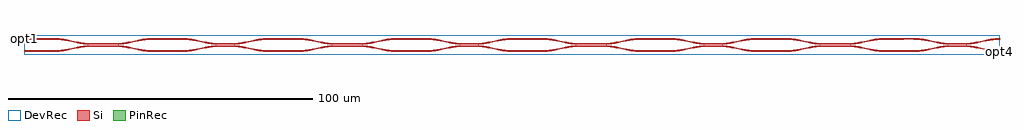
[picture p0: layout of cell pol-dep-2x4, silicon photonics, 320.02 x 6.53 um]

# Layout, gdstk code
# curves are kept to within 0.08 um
import gdstk
lib = gdstk.Library(unit=1e-6, precision=1e-09)
def R(c, l, rs):  # rectangles x0, y0, x1, y1
    for r in rs: c.add(gdstk.rectangle(r[:2], r[2:], *l))
def P(c, l, *ps):  # polygons
    for p in ps: c.add(gdstk.Polygon(p, *l))
Si = (1, 0)
PinRec = (1, 10)
DevRec = (68, 0)

layer_3_0_phase_sec_3_4_ = lib.new_cell('layer-3_0_phase_sec_3$4$1')
P(layer_3_0_phase_sec_3_4_, Si, [(1.61,-0.244),(0,-0.225),(0,0.225),(10,0.225),(10,-0.225)])

layer_3_0_phase_sec_2_4_ = lib.new_cell('layer-3_0_phase_sec_2$4$1')
P(layer_3_0_phase_sec_2_4_, Si, [(0,-0.225),(0,0.225),(10,0.225),(10,-0.225)])

layer_3_0_phase_sec_1_4_ = lib.new_cell('layer-3_0_phase_sec_1$4$1')
P(layer_3_0_phase_sec_1_4_, Si, [(0,-0.225),(0,0.225),(10,0.225),(10,-0.225)])

layer_3_0_phase_sec_0_4_ = lib.new_cell('layer-3_0_phase_sec_0$4$1')
P(layer_3_0_phase_sec_0_4_, Si, [(3.237,-0.254),(0,-0.225),(0,0.225),(10,0.225),(10,-0.225)])

layer_2_0_phase_sec_3_4_ = lib.new_cell('layer-2_0_phase_sec_3$4$1')
P(layer_2_0_phase_sec_3_4_, Si, [(3.236,-0.253),(0,-0.225),(0,0.225),(10,0.225),(10,-0.225)])

layer_2_0_phase_sec_2_4_ = lib.new_cell('layer-2_0_phase_sec_2$4$1')
P(layer_2_0_phase_sec_2_4_, Si, [(0,-0.225),(0,0.225),(10,0.225),(10,-0.225)])

layer_2_0_phase_sec_1_4_ = lib.new_cell('layer-2_0_phase_sec_1$4$1')
P(layer_2_0_phase_sec_1_4_, Si, [(0,-0.225),(0,0.225),(10,0.225),(10,-0.225)])

layer_2_0_phase_sec_0_4_ = lib.new_cell('layer-2_0_phase_sec_0$4$1')
P(layer_2_0_phase_sec_0_4_, Si, [(6.454,-0.242),(0,-0.225),(0,0.225),(10,0.225),(10,-0.225)])

layer_1_0_phase_sec_3_4_ = lib.new_cell('layer-1_0_phase_sec_3$4$1')
P(layer_1_0_phase_sec_3_4_, Si, [(4.867,-0.266),(0,-0.225),(0,0.225),(10,0.225),(10,-0.225)])

layer_1_0_phase_sec_2_4_ = lib.new_cell('layer-1_0_phase_sec_2$4$1')
P(layer_1_0_phase_sec_2_4_, Si, [(0,-0.225),(0,0.225),(10,0.225),(10,-0.225)])

layer_1_0_phase_sec_0_4_ = lib.new_cell('layer-1_0_phase_sec_0$4$1')
P(layer_1_0_phase_sec_0_4_, Si, [(4.828,-0.24),(0,-0.225),(0,0.225),(10,0.225),(10,-0.225)])

dc_arm_down_4_4_1 = lib.new_cell('dc_arm_down_4$4$1')
R(dc_arm_down_4_4_1, Si, [(12,-0.55,16,-0.1)])
P(dc_arm_down_4_4_1, Si, [(28,-2.225),(26.861,-2.188),(25.344,-2.033),(18.966,-0.793),(17.481,-0.613),(16,-0.55),(16,-0.1),(17.139,-0.137),(18.656,-0.292),(25.034,-1.532),(26.519,-1.712),(28,-1.775)],
  [(0,-2.225),(0,-1.775),(1.481,-1.712),(2.966,-1.532),(9.344,-0.292),(10.861,-0.137),(12,-0.1),(12,-0.55),(10.519,-0.613),(9.034,-0.793),(2.656,-2.033),(1.139,-2.188)])

dc_arm_up_4_4_1 = lib.new_cell('dc_arm_up_4$4$1')
R(dc_arm_up_4_4_1, Si, [(12,0.1,16,0.55)])
P(dc_arm_up_4_4_1, Si, [(16,0.1),(16,0.55),(17.481,0.613),(18.966,0.793),(25.344,2.033),(26.861,2.188),(28,2.225),(28,1.775),(26.519,1.712),(25.034,1.532),(18.656,0.292),(17.139,0.137)],
  [(12,0.1),(10.861,0.137),(9.344,0.292),(2.966,1.532),(1.481,1.712),(0,1.775),(0,2.225),(1.139,2.188),(2.656,2.033),(9.034,0.793),(10.519,0.613),(12,0.55)])

dc_4_4_1 = lib.new_cell('dc_4$4$1')
dc_4_4_1.add(gdstk.Reference(dc_arm_down_4_4_1, (0,0)))
dc_4_4_1.add(gdstk.Reference(dc_arm_up_4_4_1, (0,0)))

layer_1_0_phase_sec_1_4_ = lib.new_cell('layer-1_0_phase_sec_1$4$1')
P(layer_1_0_phase_sec_1_4_, Si, [(1.609,-0.227),(0,-0.225),(0,0.225),(10,0.225),(10,-0.225)])

dc_arm_down_8_4_1 = lib.new_cell('dc_arm_down_8$4$1')
R(dc_arm_down_8_4_1, Si, [(12,-0.55,20,-0.1)])
P(dc_arm_down_8_4_1, Si, [(32,-2.225),(30.861,-2.188),(29.344,-2.033),(22.966,-0.793),(21.481,-0.613),(20,-0.55),(20,-0.1),(21.139,-0.137),(22.656,-0.292),(29.034,-1.532),(30.519,-1.712),(32,-1.775)],
  [(0,-2.225),(0,-1.775),(1.481,-1.712),(2.966,-1.532),(9.344,-0.292),(10.861,-0.137),(12,-0.1),(12,-0.55),(10.519,-0.613),(9.034,-0.793),(2.656,-2.033),(1.139,-2.188)])

dc_arm_up_8_4_1 = lib.new_cell('dc_arm_up_8$4$1')
R(dc_arm_up_8_4_1, Si, [(12,0.1,20,0.55)])
P(dc_arm_up_8_4_1, Si, [(20,0.1),(20,0.55),(21.481,0.613),(22.966,0.793),(29.344,2.033),(30.861,2.188),(32,2.225),(32,1.775),(30.519,1.712),(29.034,1.532),(22.656,0.292),(21.139,0.137)],
  [(12,0.1),(10.861,0.137),(9.344,0.292),(2.966,1.532),(1.481,1.712),(0,1.775),(0,2.225),(1.139,2.188),(2.656,2.033),(9.034,0.793),(10.519,0.613),(12,0.55)])

dc_8_4_1 = lib.new_cell('dc_8$4$1')
dc_8_4_1.add(gdstk.Reference(dc_arm_down_8_4_1, (0,0)))
dc_8_4_1.add(gdstk.Reference(dc_arm_up_8_4_1, (0,0)))

layer_0_0_phase_sec_3_4_ = lib.new_cell('layer-0_0_phase_sec_3$4$1')
P(layer_0_0_phase_sec_3_4_, Si, [(0,-0.225),(0,0.225),(10,0.225),(10,-0.225)])

layer_0_0_phase_sec_1_4_ = lib.new_cell('layer-0_0_phase_sec_1$4$1')
P(layer_0_0_phase_sec_1_4_, Si, [(1.613,-0.231),(0,-0.225),(0,0.225),(10,0.225),(10,-0.225)])

layer_0_0_phase_sec_2_4_ = lib.new_cell('layer-0_0_phase_sec_2$4$1')
P(layer_0_0_phase_sec_2_4_, Si, [(4.862,-0.267),(0,-0.225),(0,0.225),(10,0.225),(10,-0.225)])

layer_0_0_phase_sec_0_4_ = lib.new_cell('layer-0_0_phase_sec_0$4$1')
P(layer_0_0_phase_sec_0_4_, Si, [(6.461,-0.23),(0,-0.225),(0,0.225),(10,0.225),(10,-0.225)])

pol_dep_2x4 = lib.new_cell('pol-dep-2x4')
R(pol_dep_2x4, DevRec, [(0,-1,320,5.533)])
pol_dep_2x4.add(gdstk.FlexPath([(319.99,0.266),(320.01,0.266)], 0.45, ends="flush", simple_path=True, layer=1, datatype=10))  # PinRec
pol_dep_2x4.add(gdstk.FlexPath([(319.99,4.266),(320.01,4.266)], 0.45, ends="flush", simple_path=True, layer=1, datatype=10))  # PinRec
pol_dep_2x4.add(gdstk.FlexPath([(0.01,0.266),(-0.01,0.266)], 0.45, ends="flush", simple_path=True, layer=1, datatype=10))  # PinRec
pol_dep_2x4.add(gdstk.FlexPath([(0.01,4.266),(-0.01,4.266)], 0.45, ends="flush", simple_path=True, layer=1, datatype=10))  # PinRec
pol_dep_2x4.add(gdstk.Reference(layer_3_0_phase_sec_3_4_, (282,0.266)))
pol_dep_2x4.add(gdstk.Reference(layer_3_0_phase_sec_2_4_, (282,4.266)))
pol_dep_2x4.add(gdstk.Reference(layer_3_0_phase_sec_1_4_, (240,0.266)))
pol_dep_2x4.add(gdstk.Reference(layer_3_0_phase_sec_0_4_, (240,4.266)))
pol_dep_2x4.add(gdstk.Reference(layer_2_0_phase_sec_3_4_, (202,0.266)))
pol_dep_2x4.add(gdstk.Reference(layer_2_0_phase_sec_2_4_, (202,4.266)))
pol_dep_2x4.add(gdstk.Reference(layer_2_0_phase_sec_1_4_, (160,0.266)))
pol_dep_2x4.add(gdstk.Reference(layer_2_0_phase_sec_0_4_, (160,4.266)))
pol_dep_2x4.add(gdstk.Reference(layer_1_0_phase_sec_3_4_, (122,0.266)))
pol_dep_2x4.add(gdstk.Reference(layer_1_0_phase_sec_2_4_, (122,4.266)))
pol_dep_2x4.add(gdstk.Reference(layer_1_0_phase_sec_0_4_, (80,4.266)))
pol_dep_2x4.add(gdstk.Reference(dc_4_4_1, (52,2.266)))
pol_dep_2x4.add(gdstk.Reference(dc_4_4_1, (132,2.266)))
pol_dep_2x4.add(gdstk.Reference(dc_4_4_1, (212,2.266)))
pol_dep_2x4.add(gdstk.Reference(dc_4_4_1, (292,2.266)))
pol_dep_2x4.add(gdstk.Reference(layer_1_0_phase_sec_1_4_, (80,0.266)))
pol_dep_2x4.add(gdstk.Reference(dc_8_4_1, (10,2.266)))
pol_dep_2x4.add(gdstk.Reference(dc_8_4_1, (90,2.266)))
pol_dep_2x4.add(gdstk.Reference(dc_8_4_1, (170,2.266)))
pol_dep_2x4.add(gdstk.Reference(dc_8_4_1, (250,2.266)))
pol_dep_2x4.add(gdstk.Reference(layer_0_0_phase_sec_3_4_, (42,0.266)))
pol_dep_2x4.add(gdstk.Reference(layer_0_0_phase_sec_1_4_, (0,0.266)))
pol_dep_2x4.add(gdstk.Reference(layer_0_0_phase_sec_2_4_, (42,4.266)))
pol_dep_2x4.add(gdstk.Reference(layer_0_0_phase_sec_0_4_, (0,4.266)))
pol_dep_2x4.add(gdstk.Label('opt4', (320,0.266), layer=1, texttype=10))
pol_dep_2x4.add(gdstk.Label('opt3', (320,4.266), layer=1, texttype=10))
pol_dep_2x4.add(gdstk.Label('opt1', (0,4.266), layer=1, texttype=10))
pol_dep_2x4.add(gdstk.Label('opt2', (0,0.266), layer=1, texttype=10))

lib.write_gds('pol-dep-2x4.gds')
